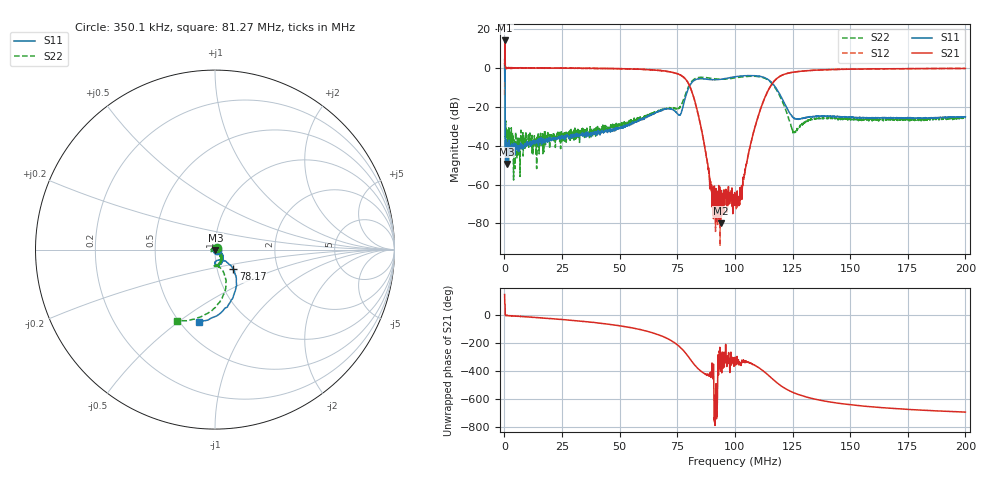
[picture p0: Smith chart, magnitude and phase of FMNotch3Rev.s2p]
! 19-Feb-26 2:32:25 PM
! E:\VNA_MEASUREMENTS\RECBLOCK\FMNOTCH3REV.S2P
! CHANNEL.1
! TR.MEASUREMENT
! CORRECTED.DATA
# GHZ S RI R 50.0
! FREQ.GHZ  S11RE  S11IM  S21RE  S21IM  S12RE  S12IM  S22RE  S22IM
!; PortSelection: Port_12
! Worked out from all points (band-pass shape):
!   2000 points, 50 kHz to 200 MHz, reference 50 ohm
!   highest |S21| = 14.05 dB at 250 kHz (marker M1); lowest = -79.9 dB at 93.77 MHz (marker M2)
!   |S21| within 3 dB of the highest: 225.7 kHz to 271.3 kHz (45.62 kHz wide, 18.4 % of centre)
!   lowest |S11| = -49.4 dB at 1.05 MHz (marker M3), VSWR 1.01, Z = 50.3 - j0.205 ohm
!   |S11| at or under -10 dB: 291.7 kHz to 80.07 MHz (79.78 MHz wide, 199 % of centre); 117.6 MHz to end of sweep
!   |S22| runs from -57.7 to 10.9 dB; largest |S21 - S12| = 7.8
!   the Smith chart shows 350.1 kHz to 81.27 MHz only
!   S11 on the Smith chart (normalised r, x): 350.1 kHz: 1.02, -0.00; 78.17 MHz: 1.20, -0.26; 81.27 MHz: 0.61, -0.60
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5e-05  -0.402 1.112  -1.099 0.6554  0.1383 -0.1422  -0.6673 -1.568
0.00025005  -1.203 -3.872  0.8595 4.966  0.754 -2.859  -0.8544 3.404
0.000350075  0.00873 -0.00157  0.9941 0.00978  1.003 -0.00234  0.00983 0.0108
0.00105025  0.00269 -0.00204  0.9495 -0.0408  0.9916 -0.0277  -0.0217 -0.0114
0.004851201  0.0106 0.00399  0.9927 -0.0781  0.9832 -0.0966  0.0189 0.0119
0.03345835  0.0186 -0.00353  0.7134 -0.6597  0.71 -0.6681  0.0183 -0.0101
0.06676668  0.0439 -0.0618  -0.6552 -0.551  -0.6605 -0.5516  0.0297 -0.0736
0.07326831  0.00125 -0.0811  -0.7332 0.1537  -0.7386 0.1477  -0.00204 -0.0943
0.07816953  0.1016 -0.1067  -0.0683 0.5379  -0.0665 0.5377  0.0627 -0.1743
0.08127031  -0.089 -0.404  0.2179 0.1206  0.2166 0.1194  -0.2091 -0.397
0.08537134  -0.5131 0.1059  0.0199 -0.0193  0.0198 -0.0193  -0.5444 0.1635
0.09067266  0.225 0.4374  0.000131 2.11e-05  0.000205 -0.000209  0.1772 0.4962
0.09377344  0.5063 0.0285  7.58e-05 -6.66e-05  4.51e-05 0.000527  0.4916 0.1246
0.100075  -0.095 -0.5809  0.000201 0.000336  0.00033 9.34e-05  -0.0463 -0.5481
0.1023756  -0.4012 -0.461  0.000553 0.000179  0.000468 0.000135  -0.3742 -0.4388
0.1065766  -0.6264 0.0678  0.00918 0.00252  0.00887 0.00271  -0.5931 0.1118
0.1111778  -0.2351 0.5494  0.0804 -0.0407  0.0799 -0.0401  -0.1357 0.5644
0.1152788  0.2736 0.3568  0.0407 -0.3193  0.042 -0.3218  0.3409 0.2762
0.1253813  0.0516 -0.00523  -0.737 0.2154  -0.7424 0.2147  0.0245 -0.00553
0.1333833  0.0543 0.00757  -0.4531 0.727  -0.4558 0.729  0.0442 0.0181
0.1666917  0.0305 -0.0425  0.5773 0.7449  0.5759 0.7412  0.0366 -0.0286
0.2  0.0129 -0.0534  0.8829 0.3872  0.8814 0.3835  0.027 -0.0462
